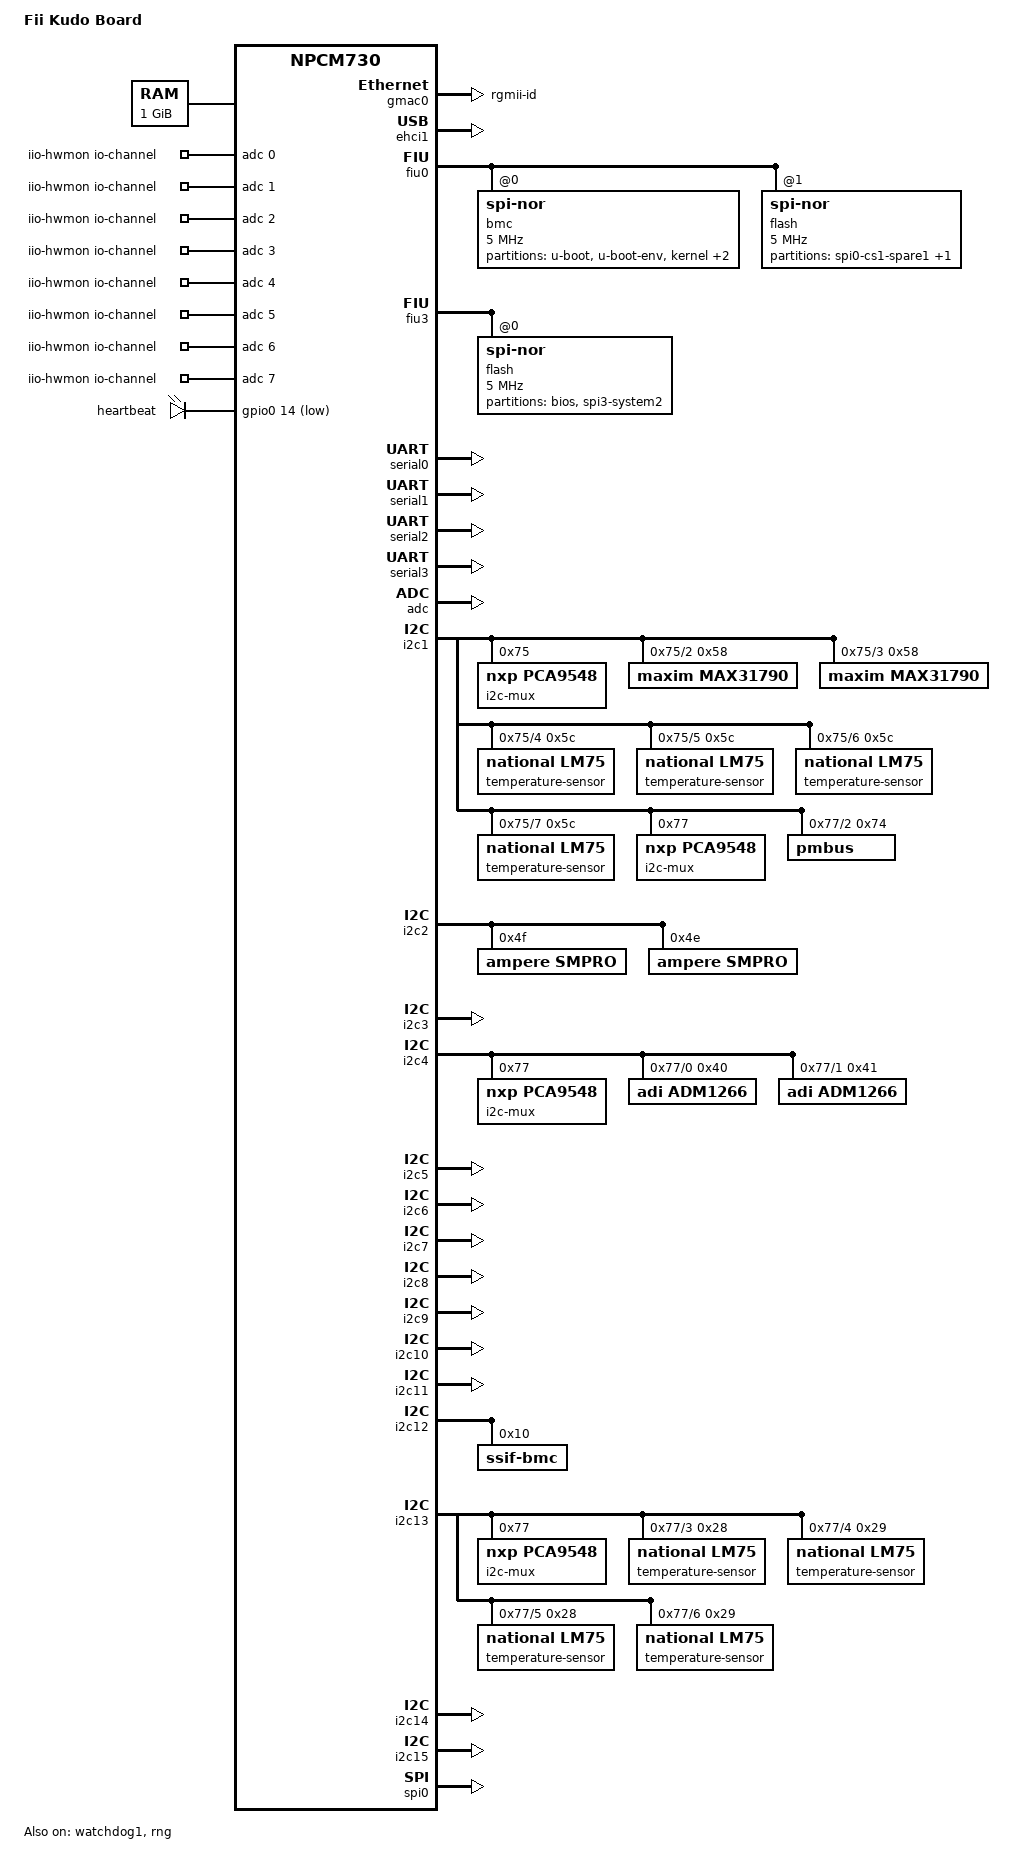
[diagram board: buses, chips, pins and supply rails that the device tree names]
// SPDX-License-Identifier: GPL-2.0
// Copyright (c) 2020 Fii USA Inc.

/dts-v1/;
#include "nuvoton-npcm730.dtsi"

#include <dt-bindings/gpio/gpio.h>

/ {
	model = "Fii Kudo Board";
	compatible = "fii,kudo", "nuvoton,npcm730";

	aliases {
		ethernet1 = &gmac0;
		serial0 = &serial0;
		serial1 = &serial1;
		serial2 = &serial2;
		serial3 = &serial3;
		i2c1 = &i2c1;
		i2c2 = &i2c2;
		i2c3 = &i2c3;
		i2c4 = &i2c4;
		i2c5 = &i2c5;
		i2c6 = &i2c6;
		i2c7 = &i2c7;
		i2c8 = &i2c8;
		i2c9 = &i2c9;
		i2c10 = &i2c10;
		i2c11 = &i2c11;
		i2c12 = &i2c12;
		i2c13 = &i2c13;
		i2c14 = &i2c14;
		i2c15 = &i2c15;
		spi0 = &spi0;
		spi1 = &spi1;
		fiu0 = &fiu0;
		fiu1 = &fiu3;
	};

	chosen {
		stdout-path = &serial3;
	};

	memory {
		reg = <0 0x40000000>;
	};

	iio-hwmon {
		compatible = "iio-hwmon";
		io-channels = <&adc 0>, <&adc 1>, <&adc 2>, <&adc 3>,
			<&adc 4>, <&adc 5>, <&adc 6>, <&adc 7>;
	};

	jtag_master {
		compatible = "nuvoton,npcm750-jtag-master";
		#address-cells = <1>;
		#size-cells = <1>;

		// dev/jtag0
		dev-num = <0>;
		// pspi or gpio
		mode = "pspi";

		// pspi2
		pspi-controller = <2>;
		reg = <0xf0201000 0x1000>;
		interrupts = <GIC_SPI 28 IRQ_TYPE_LEVEL_HIGH>;
		clocks = <&clk NPCM7XX_CLK_APB5>;

		// TCK, TDI, TDO, TMS
		jtag-gpios = <&gpio0 19 GPIO_ACTIVE_HIGH>,
				<&gpio0 18 GPIO_ACTIVE_HIGH>,
				<&gpio0 17 GPIO_ACTIVE_HIGH>,
				<&gpio0 16 GPIO_ACTIVE_HIGH>;
	};

	leds {
		compatible = "gpio-leds";
		heartbeat {
			label = "heartbeat";
			gpios = <&gpio0 14 1>;
		};
	};

	pinctrl: pinctrl@f0800000 {
		gpio61oh_pins: gpio61oh-pins {
			pins = "GPO61/nDTR1_BOUT1/STRAP6";
			bias-disable;
			output-high;
		};
		gpio62oh_pins: gpio62oh-pins {
			pins = "GPO62/nRTST1/STRAP5";
			bias-disable;
			output-high;
		};
		gpio161ol_pins: gpio161ol-pins {
			pins = "GPIO161/nLFRAME/nESPICS";
			bias-disable;
			output-low;
		};
		gpio163i_pins: gpio163i-pins {
			pins = "GPIO163/LCLK/ESPICLK";
			bias-disable;
			input-enable;
		};
		gpio167ol_pins: gpio167ol-pins {
			pins = "GPIO167/LAD3/ESPI_IO3";
			bias-disable;
			output-low;
		};
		gpio95i_pins: gpio95i-pins {
			pins = "GPIO95/nLRESET/nESPIRST";
			bias-disable;
			input-enable;
		};
		gpio65ol_pins: gpio65ol-pins {
			pins = "GPIO65/FANIN1";
			bias-disable;
			output-low;
		};
		gpio66oh_pins: gpio66oh-pins {
			pins = "GPIO66/FANIN2";
			bias-disable;
			output-high;
		};
		gpio67oh_pins: gpio67oh-pins {
			pins = "GPIO67/FANIN3";
			bias-disable;
			output-high;
		};
		gpio68ol_pins: gpio68ol-pins {
			pins = "GPIO68/FANIN4";
			bias-disable;
			output-low;
		};
		gpio69i_pins: gpio69i-pins {
			pins = "GPIO69/FANIN5";
			bias-disable;
			input-enable;
		};
		gpio70ol_pins: gpio70ol-pins {
			pins = "GPIO70/FANIN6";
			bias-disable;
			output-low;
		};
		gpio71i_pins: gpio71i-pins {
			pins = "GPIO71/FANIN7";
			bias-disable;
			input-enable;
		};
		gpio72i_pins: gpio72i-pins {
			pins = "GPIO72/FANIN8";
			bias-disable;
			input-enable;
		};
		gpio73i_pins: gpio73i-pins {
			pins = "GPIO73/FANIN9";
			bias-disable;
			input-enable;
		};
		gpio74i_pins: gpio74i-pins {
			pins = "GPIO74/FANIN10";
			bias-disable;
			input-enable;
		};
		gpio75i_pins: gpio75i-pins {
			pins = "GPIO75/FANIN11";
			bias-disable;
			input-enable;
		};
		gpio76i_pins: gpio76i-pins {
			pins = "GPIO76/FANIN12";
			bias-disable;
			input-enable;
		};
		gpio77i_pins: gpio77i-pins {
			pins = "GPIO77/FANIN13";
			bias-disable;
			input-enable;
		};
		gpio78i_pins: gpio78i-pins {
			pins = "GPIO78/FANIN14";
			bias-disable;
			input-enable;
		};
		gpio79ol_pins: gpio79ol-pins {
			pins = "GPIO79/FANIN15";
			bias-disable;
			output-low;
		};
		gpio80oh_pins: gpio80oh-pins {
			pins = "GPIO80/PWM0";
			bias-disable;
			output-high;
		};
		gpio81i_pins: gpio81i-pins {
			pins = "GPIO81/PWM1";
			bias-disable;
			input-enable;
		};
		gpio82i_pins: gpio82i-pins {
			pins = "GPIO82/PWM2";
			bias-disable;
			input-enable;
		};
		gpio83i_pins: gpio83i-pins {
			pins = "GPIO83/PWM3";
			bias-disable;
			input-enable;
		};
		gpio144i_pins: gpio144i-pins {
			pins = "GPIO144/PWM4";
			bias-disable;
			input-enable;
		};
		gpio145i_pins: gpio145i-pins {
			pins = "GPIO145/PWM5";
			bias-disable;
			input-enable;
		};
		gpio146i_pins: gpio146i-pins {
			pins = "GPIO146/PWM6";
			bias-disable;
			input-enable;
		};
		gpio147oh_pins: gpio147oh-pins {
			pins = "GPIO147/PWM7";
			bias-disable;
			output-high;
		};
		gpio168ol_pins: gpio168ol-pins {
			pins = "GPIO168/nCLKRUN/nESPIALERT";
			bias-disable;
			output-low;
		};
		gpio169oh_pins: gpio169oh-pins {
			pins = "GPIO169/nSCIPME";
			bias-disable;
			output-high;
		};
		gpio170ol_pins: gpio170ol-pins {
			pins = "GPIO170/nSMI";
			bias-disable;
			output-low;
		};
		gpio218oh_pins: gpio218oh-pins {
			pins = "GPIO218/nWDO1";
			bias-disable;
			output-high;
		};
		gpio37i_pins: gpio37i-pins {
			pins = "GPIO37/SMB3CSDA";
			bias-disable;
			input-enable;
		};
		gpio38i_pins: gpio38i-pins {
			pins = "GPIO38/SMB3CSCL";
			bias-disable;
			input-enable;
		};
		gpio39i_pins: gpio39i-pins {
			pins = "GPIO39/SMB3BSDA";
			bias-disable;
			input-enable;
		};
		gpio40i_pins: gpio40i-pins {
			pins = "GPIO40/SMB3BSCL";
			bias-disable;
			input-enable;
		};
		gpio121i_pins: gpio121i-pins {
			pins = "GPIO121/SMB2CSCL";
			bias-disable;
			input-enable;
		};
		gpio122i_pins: gpio122i-pins {
			pins = "GPIO122/SMB2BSDA";
			bias-disable;
			input-enable;
		};
		gpio123i_pins: gpio123i-pins {
			pins = "GPIO123/SMB2BSCL";
			bias-disable;
			input-enable;
		};
		gpio124i_pins: gpio124i-pins {
			pins = "GPIO124/SMB1CSDA";
			bias-disable;
			input-enable;
		};
		gpio125i_pins: gpio125i-pins {
			pins = "GPIO125/SMB1CSCL";
			bias-disable;
			input-enable;
		};
		gpio126i_pins: gpio126i-pins {
			pins = "GPIO126/SMB1BSDA";
			bias-disable;
			input-enable;
		};
		gpio127i_pins: gpio127i-pins {
			pins = "GPIO127/SMB1BSCL";
			bias-disable;
			input-enable;
		};
		gpio136i_pins: gpio136i-pins {
			pins = "GPIO136/SD1DT0";
			bias-disable;
			input-enable;
		};
		gpio137oh_pins: gpio137oh-pins {
			pins = "GPIO137/SD1DT1";
			bias-disable;
			output-high;
		};
		gpio138i_pins: gpio138i-pins {
			pins = "GPIO138/SD1DT2";
			bias-disable;
			input-enable;
		};
		gpio139i_pins: gpio139i-pins {
			pins = "GPIO139/SD1DT3";
			bias-disable;
			input-enable;
		};
		gpio140i_pins: gpio140i-pins {
			pins = "GPIO140/SD1CLK";
			bias-disable;
			input-enable;
		};
		gpio141i_pins: gpio141i-pins {
			pins = "GPIO141/SD1WP";
			bias-disable;
			input-enable;
		};
		gpio190oh_pins: gpio190oh-pins {
			pins = "GPIO190/nPRD_SMI";
			bias-disable;
			output-high;
		};
		gpio191oh_pins: gpio191oh-pins {
			pins = "GPIO191";
			bias-disable;
			output-high;
		};
		gpio195ol_pins: gpio195ol-pins {
			pins = "GPIO195/SMB0BSDA";
			bias-disable;
			output-low;
		};
		gpio196ol_pins: gpio196ol-pins {
			pins = "GPIO196/SMB0CSCL";
			bias-disable;
			output-low;
		};
		gpio199i_pins: gpio199i-pins {
			pins = "GPIO199/SMB0DSCL";
			bias-disable;
			input-enable;
		};
		gpio202ol_pins: gpio202ol-pins {
			pins = "GPIO202/SMB0CSDA";
			bias-disable;
			output-low;
		};
	};
};

&gmac0 {
	phy-mode = "rgmii-id";
	snps,eee-force-disable;
	status = "okay";
};

&ehci1 {
	status = "okay";
};

&fiu0 {
	pinctrl-names = "default";
	pinctrl-0 = <&spi0cs1_pins>;
	status = "okay";
	flash@0 {
		compatible = "jedec,spi-nor";
		#address-cells = <1>;
		#size-cells = <1>;
		reg = <0>;
		spi-max-frequency = <5000000>;
		spi-rx-bus-width = <2>;
		label = "bmc";
		partitions {
			compatible = "fixed-partitions";
			#address-cells = <1>;
			#size-cells = <1>;
			u-boot@0 {
				label = "u-boot";
				reg = <0x0000000 0xC0000>;
				read-only;
			};
			u-boot-env@100000 {
				label = "u-boot-env";
				reg = <0x00100000 0x40000>;
			};
			kernel@200000 {
				label = "kernel";
				reg = <0x0200000 0x600000>;
			};
			rofs@800000 {
				label = "rofs";
				reg = <0x800000 0x3500000>;
			};
			rwfs@3d00000 {
				label = "rwfs";
				reg = <0x3d00000 0x300000>;
			};
		};
	};
	flash@1 {
		compatible = "jedec,spi-nor";
		#address-cells = <1>;
		#size-cells = <1>;
		reg = <1>;
		spi-max-frequency = <5000000>;
		spi-rx-bus-width = <2>;
		partitions {
			compatible = "fixed-partitions";
			#address-cells = <1>;
			#size-cells = <1>;
			spare1@0 {
				label = "spi0-cs1-spare1";
				reg = <0x0 0x800000>;
			};
			spare2@800000 {
				label = "spi0-cs1-spare2";
				reg = <0x800000 0x0>;
			};
		};
	};
};

&fiu3 {
	pinctrl-0 = <&spi3_pins>;
	flash@0 {
		compatible = "jedec,spi-nor";
		#address-cells = <1>;
		#size-cells = <1>;
		reg = <0>;
		spi-max-frequency = <5000000>;
		spi-rx-bus-width = <2>;
		partitions {
			compatible = "fixed-partitions";
			#address-cells = <1>;
			#size-cells = <1>;
			system1@0 {
				label = "bios";
				reg = <0x0 0x0>;
			};
			system2@800000 {
				label = "spi3-system2";
				reg = <0x800000 0x0>;
			};
		};
	};
};

&watchdog1 {
	status = "okay";
};

&rng {
	status = "okay";
};

&serial0 {
	status = "okay";
};

&serial1 {
	status = "okay";
};

&serial2 {
	status = "okay";
};

&serial3 {
	status = "okay";
};

&adc {
	#io-channel-cells = <1>;
	status = "okay";
};

&i2c1 {
	status = "okay";
	i2c-mux@75 {
		compatible = "nxp,pca9548";
		#address-cells = <1>;
		#size-cells = <0>;
		reg = <0x75>;
		i2c-mux-idle-disconnect;

		i2c@2 {
			#address-cells = <1>;
			#size-cells = <0>;
			reg = <2>;

			// Rear-Fan
			max31790@58 {
				compatible = "maxim,max31790";
				reg = <0x58>;
			};
		};

		i2c@3 {
			#address-cells = <1>;
			#size-cells = <0>;
			reg = <3>;

			// Mid-Fan
			max31790@58 {
				compatible = "maxim,max31790";
				reg = <0x58>;
			};
		};

		i2c@4 {
			#address-cells = <1>;
			#size-cells = <0>;
			reg = <4>;

			// INLET1_T
			temperature-sensor@5c {
				compatible = "national,lm75";
				reg = <0x5c>;
			};
		};

		i2c@5 {
			#address-cells = <1>;
			#size-cells = <0>;
			reg = <5>;

			// OUTLET1_T
			temperature-sensor@5c {
				compatible = "national,lm75";
				reg = <0x5c>;
			};
		};

		i2c@6 {
			#address-cells = <1>;
			#size-cells = <0>;
			reg = <6>;

			// OUTLET2_T
			temperature-sensor@5c {
				compatible = "national,lm75";
				reg = <0x5c>;
			};
		};

		i2c@7 {
			#address-cells = <1>;
			#size-cells = <0>;
			reg = <7>;

			// OUTLET3_T
			temperature-sensor@5c {
				compatible = "national,lm75";
				reg = <0x5c>;
			};
		};
	};
	i2c-mux@77 {
		compatible = "nxp,pca9548";
		#address-cells = <1>;
		#size-cells = <0>;
		reg = <0x77>;
		i2c-mux-idle-disconnect;

		i2c@2 {
			#address-cells = <1>;
			#size-cells = <0>;
			reg = <2>;

			// STB-T
			pmbus@74 {
				compatible = "pmbus";
				reg = <0x74>;
			};
		};
	};
};

&i2c2 {
	status = "okay";
	smpro@4f {
		compatible = "ampere,smpro";
		reg = <0x4f>;
	};

	smpro@4e {
		compatible = "ampere,smpro";
		reg = <0x4e>;
	};
};

&i2c3 {
	status = "okay";
};

&i2c4 {
	status = "okay";
	i2c-mux@77 {
		compatible = "nxp,pca9548";
		#address-cells = <1>;
		#size-cells = <0>;
		reg = <0x77>;
		i2c-mux-idle-disconnect;

		i2c@0 {
			#address-cells = <1>;
			#size-cells = <0>;
			reg = <0>;

			// ADC sensors
			adm1266@40 {
				compatible = "adi,adm1266";
				reg = <0x40>;
			};
		};

		i2c@1 {
			#address-cells = <1>;
			#size-cells = <0>;
			reg = <1>;

			// ADC sensors
			adm1266@41 {
				compatible = "adi,adm1266";
				reg = <0x41>;
			};
		};
	};
};

&i2c5 {
	status = "okay";
};

&i2c6 {
	status = "okay";
};

&i2c7 {
	status = "okay";
};

&i2c8 {
	status = "okay";
};

&i2c9 {
	status = "okay";
};

&i2c10 {
	status = "okay";
};

&i2c11 {
	status = "okay";
};

&i2c12 {
	status = "okay";
	ssif-bmc@10 {
		compatible = "ssif-bmc";
		reg = <0x10>;
	};
};

&i2c13 {
	status = "okay";
	i2c-mux@77 {
		compatible = "nxp,pca9548";
		#address-cells = <1>;
		#size-cells = <0>;
		reg = <0x77>;
		i2c-mux-idle-disconnect;

		i2c@3 {
			#address-cells = <1>;
			#size-cells = <0>;
			reg = <3>;

			// M2_ZONE_T
			temperature-sensor@28 {
				compatible = "national,lm75";
				reg = <0x28>;
			};
		};

		i2c@4 {
			#address-cells = <1>;
			#size-cells = <0>;
			reg = <4>;

			// BATT_ZONE_T
			temperature-sensor@29 {
				compatible = "national,lm75";
				reg = <0x29>;
			};
		};

		i2c@5 {
			#address-cells = <1>;
			#size-cells = <0>;
			reg = <5>;

			// NBM1_ZONE_T
			temperature-sensor@28 {
				compatible = "national,lm75";
				reg = <0x28>;
			};
		};
		i2c@6 {
			#address-cells = <1>;
			#size-cells = <0>;
			reg = <6>;

			// NBM2_ZONE_T
			temperature-sensor@29 {
				compatible = "national,lm75";
				reg = <0x29>;
			};
		};
	};
};

&i2c14 {
	status = "okay";
};

&i2c15 {
	status = "okay";
};

&spi0 {
	cs-gpios = <&gpio6 11 GPIO_ACTIVE_LOW>;
	status = "okay";
};

&pinctrl {
	pinctrl-names = "default";
	pinctrl-0 = <
			&gpio61oh_pins
			&gpio62oh_pins
			&gpio161ol_pins
			&gpio163i_pins
			&gpio167ol_pins
			&gpio95i_pins
			&gpio65ol_pins
			&gpio66oh_pins
			&gpio67oh_pins
			&gpio68ol_pins
			&gpio69i_pins
			&gpio70ol_pins
			&gpio71i_pins
			&gpio72i_pins
			&gpio73i_pins
			&gpio74i_pins
			&gpio75i_pins
			&gpio76i_pins
			&gpio77i_pins
			&gpio78i_pins
			&gpio79ol_pins
			&gpio80oh_pins
			&gpio81i_pins
			&gpio82i_pins
			&gpio83i_pins
			&gpio144i_pins
			&gpio145i_pins
			&gpio146i_pins
			&gpio147oh_pins
			&gpio168ol_pins
			&gpio169oh_pins
			&gpio170ol_pins
			&gpio218oh_pins
			&gpio37i_pins
			&gpio38i_pins
			&gpio39i_pins
			&gpio40i_pins
			&gpio121i_pins
			&gpio122i_pins
			&gpio123i_pins
			&gpio124i_pins
			&gpio125i_pins
			&gpio126i_pins
			&gpio127i_pins
			&gpio136i_pins
			&gpio137oh_pins
			&gpio138i_pins
			&gpio139i_pins
			&gpio140i_pins
			&gpio141i_pins
			&gpio190oh_pins
			&gpio191oh_pins
			&gpio195ol_pins
			&gpio196ol_pins
			&gpio199i_pins
			&gpio202ol_pins
			>;
};

&gcr {
	serial_port_mux: mux-controller {
		compatible = "mmio-mux";
		#mux-control-cells = <1>;

		mux-reg-masks = <0x38 0x07>;
		idle-states = <2>;
	};
};
